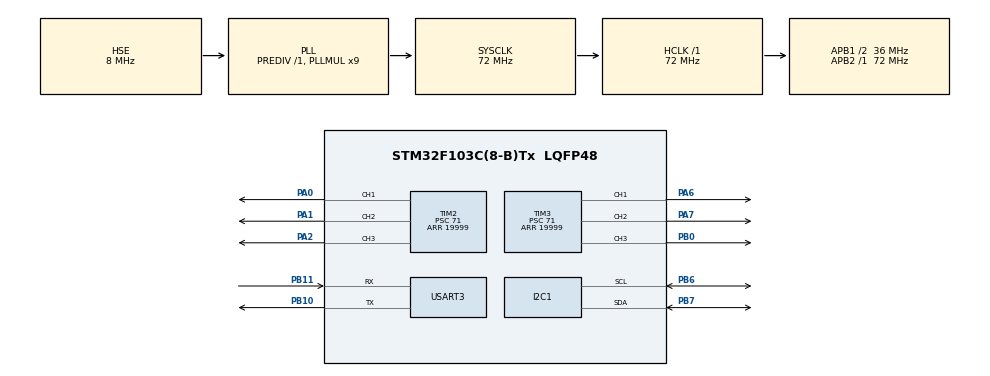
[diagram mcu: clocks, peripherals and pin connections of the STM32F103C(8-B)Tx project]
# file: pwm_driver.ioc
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I2C1.OwnAddress=16
Mcu.Family=STM32F1
Mcu.Name=STM32F103C(8-B)Tx
Mcu.Package=LQFP48
NVIC.I2C1_ER_IRQn=true\:0\:0\:false\:false\:true\:true\:true\:true
NVIC.I2C1_EV_IRQn=true\:0\:0\:false\:false\:true\:true\:true\:true
NVIC.PriorityGroup=NVIC_PRIORITYGROUP_4
NVIC.USART3_IRQn=true\:0\:0\:false\:false\:true\:true\:true\:true
PA0-WKUP.Signal=S_TIM2_CH1_ETR
PA1.Signal=S_TIM2_CH2
PA13.Mode=Serial_Wire
PA13.Signal=SYS_JTMS-SWDIO
PA14.Mode=Serial_Wire
PA14.Signal=SYS_JTCK-SWCLK
PA2.Signal=S_TIM2_CH3
PA6.Signal=S_TIM3_CH1
PA7.Signal=S_TIM3_CH2
PB0.Signal=S_TIM3_CH3
PB10.Mode=Asynchronous
PB10.Signal=USART3_TX
PB11.Mode=Asynchronous
PB11.Signal=USART3_RX
PB6.Mode=I2C
PB6.Signal=I2C1_SCL
PB7.Mode=I2C
PB7.Signal=I2C1_SDA
PD0-OSC_IN.Mode=HSE-External-Oscillator
PD0-OSC_IN.Signal=RCC_OSC_IN
PD1-OSC_OUT.Mode=HSE-External-Oscillator
PD1-OSC_OUT.Signal=RCC_OSC_OUT
ProjectManager.HeapSize=0x200
ProjectManager.StackSize=0x400
ProjectManager.TargetToolchain=STM32CubeIDE
RCC.AHBFreq_Value=72000000
RCC.APB1CLKDivider=RCC_HCLK_DIV2
RCC.APB1Freq_Value=36000000
RCC.APB1TimFreq_Value=72000000
RCC.APB2Freq_Value=72000000
RCC.APB2TimFreq_Value=72000000
RCC.HCLKFreq_Value=72000000
RCC.PLLMUL=RCC_PLL_MUL9
RCC.PLLSourceVirtual=RCC_PLLSOURCE_HSE
RCC.SYSCLKFreq_VALUE=72000000
RCC.SYSCLKSource=RCC_SYSCLKSOURCE_PLLCLK
RCC.USBFreq_Value=72000000
SH.S_TIM2_CH1_ETR.0=TIM2_CH1,PWM Generation1 CH1
SH.S_TIM2_CH2.0=TIM2_CH2,PWM Generation2 CH2
SH.S_TIM2_CH3.0=TIM2_CH3,PWM Generation3 CH3
SH.S_TIM3_CH1.0=TIM3_CH1,PWM Generation1 CH1
SH.S_TIM3_CH2.0=TIM3_CH2,PWM Generation2 CH2
SH.S_TIM3_CH3.0=TIM3_CH3,PWM Generation3 CH3
TIM2.AutoReloadPreload=TIM_AUTORELOAD_PRELOAD_ENABLE
TIM2.Channel-PWM\ Generation1\ CH1=TIM_CHANNEL_1
TIM2.Channel-PWM\ Generation2\ CH2=TIM_CHANNEL_2
TIM2.Channel-PWM\ Generation3\ CH3=TIM_CHANNEL_3
TIM2.Period=19999
TIM2.Prescaler=71
TIM3.AutoReloadPreload=TIM_AUTORELOAD_PRELOAD_ENABLE
TIM3.Channel-PWM\ Generation1\ CH1=TIM_CHANNEL_1
TIM3.Channel-PWM\ Generation2\ CH2=TIM_CHANNEL_2
TIM3.Channel-PWM\ Generation3\ CH3=TIM_CHANNEL_3
TIM3.Period=19999
TIM3.Prescaler=71
USART3.VirtualMode=VM_ASYNC
VP_TIM2_VS_ClockSourceINT.Mode=Internal
VP_TIM3_VS_ClockSourceINT.Mode=Internal
board=custom

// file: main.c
/* USER CODE BEGIN Header */
/**
  ******************************************************************************
  * @file           : main.c
  * @brief          : Main program body
  ******************************************************************************
  * @attention
  *
  * Copyright (c) 2025 STMicroelectronics.
  * All rights reserved.
  *
  *
  ******************************************************************************
  */
/* USER CODE END Header */
#include "main.h"
#include <stdio.h>
#include <string.h>

I2C_HandleTypeDef hi2c1;

TIM_HandleTypeDef htim2;
TIM_HandleTypeDef htim3;

UART_HandleTypeDef huart3;

/* USER CODE BEGIN PV */
uint8_t rx_data;          // Gelen anlık karakter (tek byte)
uint8_t rx_buffer[20];    // Gelen veriyi biriktirdiğimiz yer
uint8_t rx_index = 0;     // Buffer'ın kaçıncı sırasında olduğumuz

uint8_t i2c_rx_buffer[3]; // Kanal, Pulse_H, Pulse_L (3 Byte)
/* USER CODE END PV */

void SystemClock_Config(void);
static void MX_GPIO_Init(void);
static void MX_TIM2_Init(void);
static void MX_TIM3_Init(void);
static void MX_USART3_UART_Init(void);
static void MX_I2C1_Init(void);

/* USER CODE BEGIN 0 */

// Bu fonksiyon 1 ile 6 arasındaki kanallara, 1000us ile 2000us arasında sinyal gönderir.
// channel: Hangi çıkış? (1-6)
// pulse_us: Ne kadar dönsün? (1000=Sol, 1500=Orta, 2000=Sağ)
void Set_PWM(uint8_t channel, uint16_t pulse_us)
{
    // 1. Güvenlik Sınırları
	if (pulse_us < 500) pulse_us = 500;
	if (pulse_us > 2500) pulse_us = 2500;

    // 2. İlgili Timer ve Kanala Sinyali Gönder
    switch(channel)
    {
        // TIM2 Kanalları (PA0, PA1, PA2)
        case 1: __HAL_TIM_SET_COMPARE(&htim2, TIM_CHANNEL_1, pulse_us); break; // PA0
        case 2: __HAL_TIM_SET_COMPARE(&htim2, TIM_CHANNEL_2, pulse_us); break; // PA1
        case 3: __HAL_TIM_SET_COMPARE(&htim2, TIM_CHANNEL_3, pulse_us); break; // PA2

        // TIM3 Kanalları (PA6, PA7, PB0)
        case 4: __HAL_TIM_SET_COMPARE(&htim3, TIM_CHANNEL_1, pulse_us); break; // PA6
        case 5: __HAL_TIM_SET_COMPARE(&htim3, TIM_CHANNEL_2, pulse_us); break; // PA7
        case 6: __HAL_TIM_SET_COMPARE(&htim3, TIM_CHANNEL_3, pulse_us); break; // PB0
    }
}

/* USER CODE END 0 */

int main(void)
{

  /* MCU Configuration--------------------------------------------------------*/

  /* Reset of all peripherals, Initializes the Flash interface and the Systick. */
  HAL_Init();

  /* Configure the system clock */
  SystemClock_Config();

  /* Initialize all configured peripherals */
  MX_GPIO_Init();
  MX_TIM2_Init();
  MX_TIM3_Init();
  MX_USART3_UART_Init();
  MX_I2C1_Init();
  /* USER CODE BEGIN 2 */

  // TIM2 Kanallarını Başlat (PA0, PA1, PA2)
    HAL_TIM_PWM_Start(&htim2, TIM_CHANNEL_1);
    HAL_TIM_PWM_Start(&htim2, TIM_CHANNEL_2);
    HAL_TIM_PWM_Start(&htim2, TIM_CHANNEL_3);

    // TIM3 Kanallarını Başlat (PA6, PA7, PB0)
    HAL_TIM_PWM_Start(&htim3, TIM_CHANNEL_1);
    HAL_TIM_PWM_Start(&htim3, TIM_CHANNEL_2);
    HAL_TIM_PWM_Start(&htim3, TIM_CHANNEL_3);

    // USART3 üzerinden veri dinlemeyi başlat (Interrupt ile)
      HAL_UART_Receive_IT(&huart3, &rx_data, 1);

    // I2C Slave Modunda Veri Beklemeye Başla (3 Byte)
        HAL_I2C_Slave_Receive_IT(&hi2c1, i2c_rx_buffer, 3);

  /* USER CODE END 2 */

  /* Infinite loop */
  /* USER CODE BEGIN WHILE */

     while (1)
  {

    //TEST KODLARI!!!!!!!!!

/*
	  // TEST 1: Tüm motorları ORTA konuma
	  	  for(int i=1; i<=6; i++) Set_PWM(i, 500);
	  	  HAL_Delay(1000); // 1 saniye bekle

	  	  // TEST 2: Tüm motorları SOL konuma
	  	  for(int i=1; i<=6; i++) Set_PWM(i, 1500);
	  	  HAL_Delay(1000); // 1 saniye bekle

	  	  // TEST 3: Tüm motorları SAĞ konuma
	  	  for(int i=1; i<=6; i++) Set_PWM(i, 2500);
	  	  HAL_Delay(1000); // 1 saniye bekle

*/

    /* USER CODE END WHILE */

  }
}

void SystemClock_Config(void)
{
  RCC_OscInitTypeDef RCC_OscInitStruct = {0};
  RCC_ClkInitTypeDef RCC_ClkInitStruct = {0};

  /** Initializes the RCC Oscillators according to the specified parameters
  * in the RCC_OscInitTypeDef structure.
  */
  RCC_OscInitStruct.OscillatorType = RCC_OSCILLATORTYPE_HSE;
  RCC_OscInitStruct.HSEState = RCC_HSE_ON;
  RCC_OscInitStruct.HSEPredivValue = RCC_HSE_PREDIV_DIV1;
  RCC_OscInitStruct.HSIState = RCC_HSI_ON;
  RCC_OscInitStruct.PLL.PLLState = RCC_PLL_ON;
  RCC_OscInitStruct.PLL.PLLSource = RCC_PLLSOURCE_HSE;
  RCC_OscInitStruct.PLL.PLLMUL = RCC_PLL_MUL9;
  if (HAL_RCC_OscConfig(&RCC_OscInitStruct) != HAL_OK)
  {
    Error_Handler();
  }

  /** Initializes the CPU, AHB and APB buses clocks
  */
  RCC_ClkInitStruct.ClockType = RCC_CLOCKTYPE_HCLK|RCC_CLOCKTYPE_SYSCLK
                              |RCC_CLOCKTYPE_PCLK1|RCC_CLOCKTYPE_PCLK2;
  RCC_ClkInitStruct.SYSCLKSource = RCC_SYSCLKSOURCE_PLLCLK;
  RCC_ClkInitStruct.AHBCLKDivider = RCC_SYSCLK_DIV1;
  RCC_ClkInitStruct.APB1CLKDivider = RCC_HCLK_DIV2;
  RCC_ClkInitStruct.APB2CLKDivider = RCC_HCLK_DIV1;

  if (HAL_RCC_ClockConfig(&RCC_ClkInitStruct, FLASH_LATENCY_2) != HAL_OK)
  {
    Error_Handler();
  }
}

static void MX_I2C1_Init(void)
{

  hi2c1.Instance = I2C1;
  hi2c1.Init.ClockSpeed = 100000;
  hi2c1.Init.DutyCycle = I2C_DUTYCYCLE_2;
  hi2c1.Init.OwnAddress1 = 32;
  hi2c1.Init.AddressingMode = I2C_ADDRESSINGMODE_7BIT;
  hi2c1.Init.DualAddressMode = I2C_DUALADDRESS_DISABLE;
  hi2c1.Init.OwnAddress2 = 0;
  hi2c1.Init.GeneralCallMode = I2C_GENERALCALL_DISABLE;
  hi2c1.Init.NoStretchMode = I2C_NOSTRETCH_DISABLE;
  if (HAL_I2C_Init(&hi2c1) != HAL_OK)
  {
    Error_Handler();
  }

}

static void MX_TIM2_Init(void)
{

  TIM_ClockConfigTypeDef sClockSourceConfig = {0};
  TIM_MasterConfigTypeDef sMasterConfig = {0};
  TIM_OC_InitTypeDef sConfigOC = {0};

  htim2.Instance = TIM2;
  htim2.Init.Prescaler = 71;
  htim2.Init.CounterMode = TIM_COUNTERMODE_UP;
  htim2.Init.Period = 19999;
  htim2.Init.ClockDivision = TIM_CLOCKDIVISION_DIV1;
  htim2.Init.AutoReloadPreload = TIM_AUTORELOAD_PRELOAD_ENABLE;
  if (HAL_TIM_Base_Init(&htim2) != HAL_OK)
  {
    Error_Handler();
  }
  sClockSourceConfig.ClockSource = TIM_CLOCKSOURCE_INTERNAL;
  if (HAL_TIM_ConfigClockSource(&htim2, &sClockSourceConfig) != HAL_OK)
  {
    Error_Handler();
  }
  if (HAL_TIM_PWM_Init(&htim2) != HAL_OK)
  {
    Error_Handler();
  }
  sMasterConfig.MasterOutputTrigger = TIM_TRGO_RESET;
  sMasterConfig.MasterSlaveMode = TIM_MASTERSLAVEMODE_DISABLE;
  if (HAL_TIMEx_MasterConfigSynchronization(&htim2, &sMasterConfig) != HAL_OK)
  {
    Error_Handler();
  }
  sConfigOC.OCMode = TIM_OCMODE_PWM1;
  sConfigOC.Pulse = 0;
  sConfigOC.OCPolarity = TIM_OCPOLARITY_HIGH;
  sConfigOC.OCFastMode = TIM_OCFAST_DISABLE;
  if (HAL_TIM_PWM_ConfigChannel(&htim2, &sConfigOC, TIM_CHANNEL_1) != HAL_OK)
  {
    Error_Handler();
  }
  if (HAL_TIM_PWM_ConfigChannel(&htim2, &sConfigOC, TIM_CHANNEL_2) != HAL_OK)
  {
    Error_Handler();
  }
  if (HAL_TIM_PWM_ConfigChannel(&htim2, &sConfigOC, TIM_CHANNEL_3) != HAL_OK)
  {
    Error_Handler();
  }
  HAL_TIM_MspPostInit(&htim2);

}

static void MX_TIM3_Init(void)
{

  TIM_ClockConfigTypeDef sClockSourceConfig = {0};
  TIM_MasterConfigTypeDef sMasterConfig = {0};
  TIM_OC_InitTypeDef sConfigOC = {0};

  htim3.Instance = TIM3;
  htim3.Init.Prescaler = 71;
  htim3.Init.CounterMode = TIM_COUNTERMODE_UP;
  htim3.Init.Period = 19999;
  htim3.Init.ClockDivision = TIM_CLOCKDIVISION_DIV1;
  htim3.Init.AutoReloadPreload = TIM_AUTORELOAD_PRELOAD_ENABLE;
  if (HAL_TIM_Base_Init(&htim3) != HAL_OK)
  {
    Error_Handler();
  }
  sClockSourceConfig.ClockSource = TIM_CLOCKSOURCE_INTERNAL;
  if (HAL_TIM_ConfigClockSource(&htim3, &sClockSourceConfig) != HAL_OK)
  {
    Error_Handler();
  }
  if (HAL_TIM_PWM_Init(&htim3) != HAL_OK)
  {
    Error_Handler();
  }
  sMasterConfig.MasterOutputTrigger = TIM_TRGO_RESET;
  sMasterConfig.MasterSlaveMode = TIM_MASTERSLAVEMODE_DISABLE;
  if (HAL_TIMEx_MasterConfigSynchronization(&htim3, &sMasterConfig) != HAL_OK)
  {
    Error_Handler();
  }
  sConfigOC.OCMode = TIM_OCMODE_PWM1;
  sConfigOC.Pulse = 0;
  sConfigOC.OCPolarity = TIM_OCPOLARITY_HIGH;
  sConfigOC.OCFastMode = TIM_OCFAST_DISABLE;
  if (HAL_TIM_PWM_ConfigChannel(&htim3, &sConfigOC, TIM_CHANNEL_1) != HAL_OK)
  {
    Error_Handler();
  }
  if (HAL_TIM_PWM_ConfigChannel(&htim3, &sConfigOC, TIM_CHANNEL_2) != HAL_OK)
  {
    Error_Handler();
  }
  if (HAL_TIM_PWM_ConfigChannel(&htim3, &sConfigOC, TIM_CHANNEL_3) != HAL_OK)
  {
    Error_Handler();
  }
  HAL_TIM_MspPostInit(&htim3);

}

static void MX_USART3_UART_Init(void)
{

  huart3.Instance = USART3;
  huart3.Init.BaudRate = 115200;
  huart3.Init.WordLength = UART_WORDLENGTH_8B;
  huart3.Init.StopBits = UART_STOPBITS_1;
  huart3.Init.Parity = UART_PARITY_NONE;
  huart3.Init.Mode = UART_MODE_TX_RX;
  huart3.Init.HwFlowCtl = UART_HWCONTROL_NONE;
  huart3.Init.OverSampling = UART_OVERSAMPLING_16;
  if (HAL_UART_Init(&huart3) != HAL_OK)
  {
    Error_Handler();
  }

}

static void MX_GPIO_Init(void)
{

  /* GPIO Ports Clock Enable */
  __HAL_RCC_GPIOD_CLK_ENABLE();
  __HAL_RCC_GPIOA_CLK_ENABLE();
  __HAL_RCC_GPIOB_CLK_ENABLE();

}

/* USER CODE BEGIN 4 */

// UART'tan her veri geldiğinde bu fonksiyon otomatik çalışır
void HAL_UART_RxCpltCallback(UART_HandleTypeDef *huart)
{
    // Eğer gelen veri bizim USART3'ten geldiyse
    if(huart->Instance == USART3)
    {
        // 1. Gelen karakter '\n' (Enter tuşu) ise veriyi işle
        if(rx_data == '\n')
        {
            int kanal, pulse;
            // Gelen veriyi parçala (Örn: "1:1500" -> kanal=1, pulse=1500)
            // sscanf fonksiyonu metni sayılara çevirir
            if(sscanf((char*)rx_buffer, "%d:%d", &kanal, &pulse) == 2)
            {
                Set_PWM(kanal, pulse); // Motoru sür!
            }

            // Buffer'ı temizle ve başa dön
            rx_index = 0;
            memset(rx_buffer, 0, sizeof(rx_buffer));
        }
        else
        {
            // 2. Eğer veri normal bir karakterse ve buffer dolmadıysa, kaydet
            if(rx_index < 20)
            {
                rx_buffer[rx_index++] = rx_data;
            }
        }

        // 3. Tekrar dinlemeye başla (Bir sonraki karakter için)
        HAL_UART_Receive_IT(&huart3, &rx_data, 1);
    }
}

// I2C'den veri paketi tamamlandığında çalışan fonksiyon
void HAL_I2C_SlaveRxCpltCallback(I2C_HandleTypeDef *hi2c)
{
    // Eğer veri I2C1 üzerinden geldiyse
    if(hi2c->Instance == I2C1)
    {
        // Gelen 3 byte veriyi ayıkla
        uint8_t kanal = i2c_rx_buffer[0];                 // 1. Byte: Kanal
        uint8_t pulse_high = i2c_rx_buffer[1];            // 2. Byte: Değerin başı
        uint8_t pulse_low = i2c_rx_buffer[2];             // 3. Byte: Değerin sonu

        // İki parça halinde gelen sayıyı birleştir (Bitwise işlem)
        uint16_t pulse = (pulse_high << 8) | pulse_low;

        // Motoru sür! (Mevcut fonksiyonumuzu kullanıyoruz)
        Set_PWM(kanal, pulse);

        // Bir sonraki komut için tekrar dinlemeye başla
        HAL_I2C_Slave_Receive_IT(&hi2c1, i2c_rx_buffer, 3);
    }
}

/* USER CODE END 4 */

void Error_Handler(void)
{
  __disable_irq();
  while (1)
  {
  }
}
